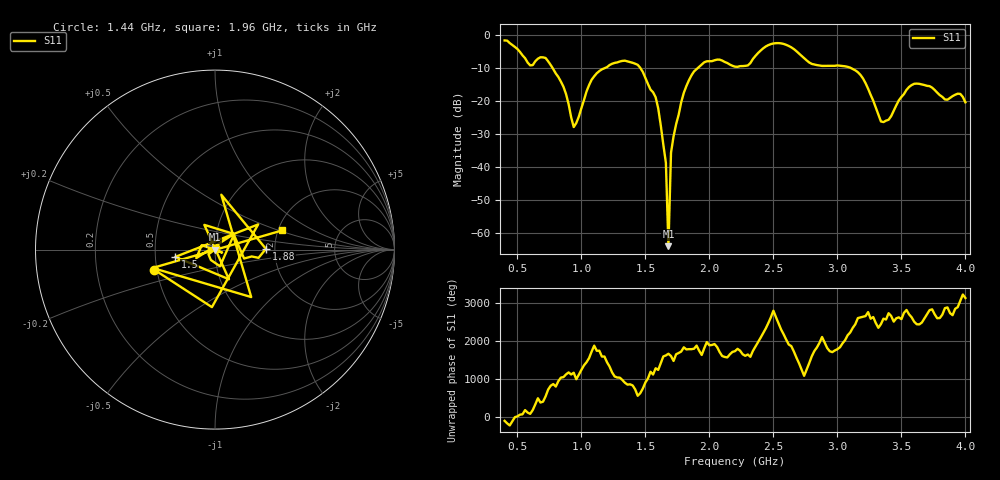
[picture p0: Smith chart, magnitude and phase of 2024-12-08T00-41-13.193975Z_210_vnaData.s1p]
!Created with skrf (http://scikit-rf.org).
# Hz S RI R 50.0
!freq ReS11 ImS11
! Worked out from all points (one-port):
!   181 points, 400 MHz to 4 GHz, reference 50 ohm
!   lowest |S11| = -64.1 dB at 1.68 GHz (marker M1), VSWR 1.00, Z = 50 - j0.047 ohm
!   |S11| at or under -10 dB: 776.3 MHz to 1.178 GHz (402.2 MHz wide, 41.1 % of centre); 1.462 GHz to 1.907 GHz (444.9 MHz wide, 26.4 % of centre); 3.11 GHz to end of sweep
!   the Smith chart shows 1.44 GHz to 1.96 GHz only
!   S11 on the Smith chart (normalised r, x): 1.44 GHz: 0.48, -0.12; 1.5 GHz: 0.64, -0.05; 1.88 GHz: 1.79, +0.02; 1.96 GHz: 2.11, +0.54
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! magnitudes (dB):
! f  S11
! 400 MHz  -1.5
! 600 MHz  -9.1
! 720 MHz  -6.9
! 860 MHz  -15.6
! 940 MHz  -27.9
! 1.08 GHz  -13.5
! 1.3 GHz  -7.9
! 1.44 GHz  -8.9
! 1.5 GHz  -13.0
! 1.58 GHz  -18.8
! 1.62 GHz  -27.3
! 1.66 GHz  -38.7
! 1.68 GHz  -64.1
! 1.7 GHz  -35.7
! 1.76 GHz  -24.1
! 1.8 GHz  -17.5
! 1.88 GHz  -10.9
! 1.96 GHz  -8.2
! 2.2 GHz  -9.5
! 2.48 GHz  -2.6
! 2.66 GHz  -4.2
! 2.8 GHz  -8.7
! 3.1 GHz  -9.8
! 3.2 GHz  -13.1
! 3.34 GHz  -26.2
! 3.4 GHz  -25.6
! 3.56 GHz  -15.7
! 4 GHz  -20.3
